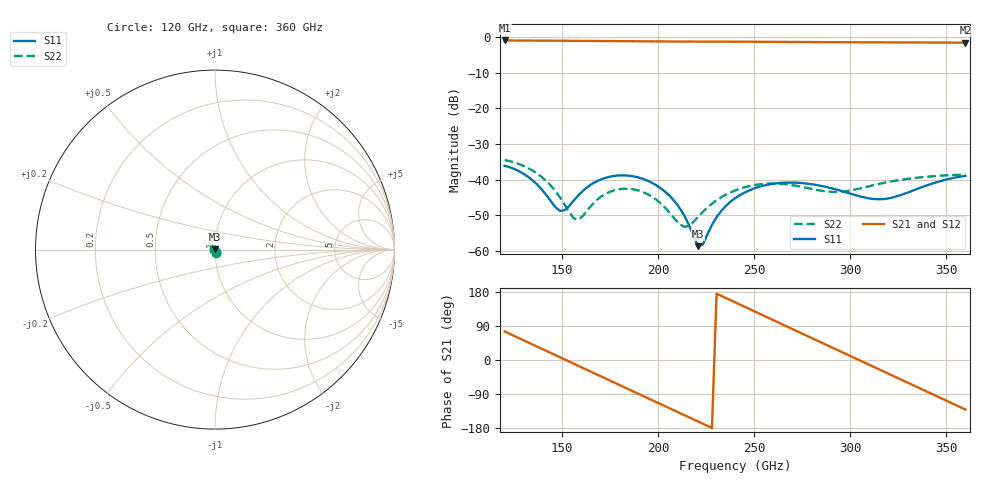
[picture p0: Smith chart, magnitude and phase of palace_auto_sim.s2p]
#  GHZ S DB R 50
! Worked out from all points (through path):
!   101 points, 120 GHz to 360 GHz, reference 50 ohm
!   highest |S21| = -0.98 dB at 120 GHz (marker M1); lowest = -1.6 dB at 360 GHz (marker M2)
!   group delay of S21, straight-line fit = 6.55 ps
!   lowest |S11| = -58.7 dB at 220.8 GHz (marker M3), VSWR 1.00, Z = 50 + j0.111 ohm
!   |S11| at or under -10 dB: start of sweep to end of sweep
!   |S22| runs from -53.2 to -34.5 dB; largest |S21 - S12| = 1.5e-13
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120  -36.10 -73.4  -0.98 75.3  -0.98 75.3  -34.53 -79.1
136.8  -41.30 -102.4  -1.02 35.7  -1.02 35.7  -38.24 -115.9
148.8  -48.75 -76.1  -1.05 7.3  -1.05 7.3  -44.92 -131.0
156  -45.88 -41.3  -1.08 -9.7  -1.08 -9.7  -50.81 -107.2
160.8  -43.13 -39.6  -1.09 -21.0  -1.09 -21.0  -50.15 -72.9
170.4  -39.88 -54.3  -1.13 -43.7  -1.13 -43.7  -44.71 -65.2
180  -38.81 -76.7  -1.17 -66.4  -1.17 -66.4  -42.65 -85.1
189.6  -39.38 -102.3  -1.21 -89.0  -1.21 -89.0  -43.03 -112.3
201.6  -42.52 -137.2  -1.25 -117.3  -1.25 -117.3  -46.81 -156.5
213.6  -50.09 179.2  -1.29 -145.5  -1.29 -145.5  -53.23 113.5
220.8  -58.65 108.4  -1.30 -162.4  -1.30 -162.4  -50.43 47.2
223.2  -58.21 63.1  -1.30 -168.0  -1.30 -168.0  -49.06 33.2
232.8  -48.80 -8.0  -1.32 169.3  -1.32 169.3  -44.95 -5.8
240  -45.23 -32.4  -1.33 152.3  -1.33 152.3  -43.05 -28.9
252  -42.10 -70.2  -1.35 124.0  -1.35 124.0  -41.36 -66.9
261.6  -41.02 -102.1  -1.37 101.3  -1.37 101.3  -41.11 -100.0
280.8  -41.35 -173.9  -1.43 55.9  -1.43 55.9  -42.69 178.1
292.8  -42.77 133.5  -1.46 27.7  -1.46 27.7  -43.45 112.2
302.4  -44.28 84.5  -1.49 5.1  -1.49 5.1  -42.80 57.7
321.6  -45.07 -33.2  -1.52 -40.1  -1.52 -40.1  -40.47 -36.1
340.8  -41.45 -130.1  -1.55 -85.4  -1.55 -85.4  -39.15 -116.3
360  -38.96 158.3  -1.59 -130.7  -1.59 -130.7  -38.62 168.6
